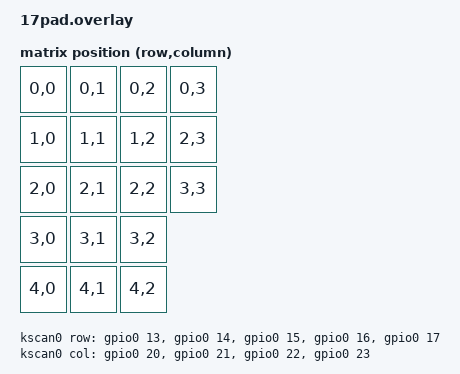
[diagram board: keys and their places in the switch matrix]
#include <dt-bindings/zmk/keys.h>
#include <behaviors.dtsi>

/ {
    chosen {
        zmk,kscan = &kscan0;
        zmk,matrix-transform = &default_transform;
    };

    kscan0: kscan {
        compatible = "zmk,kscan-gpio-matrix";
        wakeup-source;

        // 5行 × 4列
        row-gpios
            = <&gpio0 13 GPIO_ACTIVE_HIGH>
            , <&gpio0 14 GPIO_ACTIVE_HIGH>
            , <&gpio0 15 GPIO_ACTIVE_HIGH>
            , <&gpio0 16 GPIO_ACTIVE_HIGH>
            , <&gpio0 17 GPIO_ACTIVE_HIGH>;
        col-gpios
            = <&gpio0 20 GPIO_ACTIVE_HIGH>
            , <&gpio0 21 GPIO_ACTIVE_HIGH>
            , <&gpio0 22 GPIO_ACTIVE_HIGH>
            , <&gpio0 23 GPIO_ACTIVE_HIGH>;
    };

    default_transform: keymap_transform_0 {
        compatible = "zmk,matrix-transform";
        columns = <4>;
        rows = <5>;

        // 按照物理布局映射
        // 空缺位置用 0 占位
        map = <
            RC(0,0) RC(0,1) RC(0,2) RC(0,3)
            RC(1,0) RC(1,1) RC(1,2) RC(2,3)
            RC(2,0) RC(2,1) RC(2,2) RC(3,3)
            RC(3,0) RC(3,1) RC(3,2) 0
            RC(4,0) RC(4,1) RC(4,2) 0
        >;
    };
};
